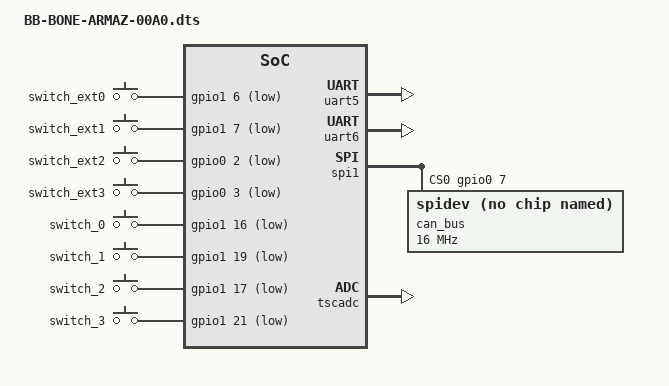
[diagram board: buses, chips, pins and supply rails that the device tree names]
/dts-v1/;
/plugin/;

/ {
    compatible = "ti,beaglebone", "ti,beaglebone-black";

    /* identification */
    part-number = "BB-BONE-ARMAZCAPE";
    version = "00A0";

    /* state the resources this cape uses or prepare to get winged! */
    exclusive-use =
        /* the pin header P8 uses   */
        "P8.3", /* SWITCH_EXT0        */
        "P8.4", /* SWITCH_EXT1        */
        "P8.5", /* SWITCH_EXT2        */
        "P8.6", /* SWITCH_EXT3        */
        "P8.37", /* UART5_TXD           */
        "P8.38", /* UART5_RXD           */
        /* the pin header P9 uses   */
        "P9.11", /* UART4_RXD           */
        "P9.15", /* SWITCH_2           */
        "P9.16", /* SWITCH_3           */
        "P9.23", /* SWITCH_1           */
        "P9.25", /* SWITCH_0           */
        "P9.28", /* SPI1_CS0           */
        "P9.29", /* SPI1_MISO           */
        "P9.30", /* SPI1_MOSI           */
        "P9.31", /* SPI1_SCLK           */
        "P9.37", /* TERM_EXT2           */
        "P9.39", /* TERM_EXT0           */
        "P9.40", /* TERM_EXT1           */
        "P9.42", /* SPI1_CS1           */
        /* the hardware IP uses     */
        "uart4", "uart5";

    fragment@0 {
        target = <&am33xx_pinmux>;
        __overlay__ {
            switch_pins: pinmux_switch_pins {
                pinctrl-single,pins = <
                    // GPIO Settings
                    // 6            5               4           3                   2,1,0
                    // Slew ctl     Receiver active Pullup/down Enable pullup/down  Mux mode
                    // 0 Fast       0 Disable       0 Pulldown  0 Enabled           000 for mode 0
                    // 1 Slow       1 Enable        1 Pullup    1 Disabled          111 for mode 7
                    //
                    // OUTPUT GPIO(mode 7)  0X07 pulldown, 0x17 pullup, 0x?f no pullup/down
                    // INPUT GPIO(mode 7)   0X27 pulldown, 0x37 pullup, 0x?f no pullup/down

                    0x018 0x37 // P8_3 () = SWITCH_EXT0 = GPIO1_6
                    0x01C 0x37 // P8_4 () = SWITCH_EXT1 = GPIO1_7
                    0x008 0x37 // P8_5 () = SWITCH_EXT2 = GPIO0_2
                    0x00C 0x37 // P8_6 () = SWITCH_EXT3 = GPIO0_3
                    0x040 0x37 // P9_15 () = SWITCH_0 = GPIO1_16
                    0x04C 0x37 // P9_16 () = SWITCH_1 = GPIO1_19
                    0x044 0x37 // P9_23 () = SWITCH_2 = GPIO1_17
                    0x1AC 0x37 // P9_25 () = SWITCH_3 = GPIO1_21
                >;
            };
            bb_uart4_pins: pinmux_bb_uart4_pins {
                pinctrl-single,pins = <
                    0x150 0x36 // UART4_RXD.uart4_rxd | MODE6
                >;
            };
            bb_uart5_pins: pinmux_bb_uart5_pins {
                pinctrl-single,pins = <
                    0x0C0 0x14 // UART5_TXD.uart5_txd | MODE4
                    0x0C4 0x34 // UART5_RXD.uart5_rxd | MODE4
                >;
            };
            bb_spi1_pins: pinmux_spi1_pins {
                pinctrl-single,pins = <
                    0x190 0x13 // P9_31 = SPI1_SCLK.spi1_sclk | MODE3 | OUTPUT_PULLUP
                    0x194 0x33 // P9_29 = SPI1_MISO.spi1_d0 | MODE3 | INPUT_PULLUP
                    0x198 0x13 // P9_30 = SPI1_MOSI.spi1_d1 | MODE3 | OUTPUT_PULLUP
                    0x19C 0x13 // P9_28 = SPI1_CS0.spi1_cs0 | MODE3 | OUTPUT_PULLUP
                    0x164 0x12 // P9_42 = GPIO0_7.spi1_cs1 | MODE2 | OUTPUT_PULLUP
                >;
            };
        };
    };

    fragment@1 {
        target = <&uart5>;  /* really uart4 */
        __overlay__ {
            status = "okay";
            pinctrl-names = "default";
            pinctrl-0 = <&bb_uart4_pins>;
        };
    };

    fragment@2 {
        target = <&uart6>;  /* really uart5 */
        __overlay__ {
            status = "okay";
            pinctrl-names = "default";
            pinctrl-0 = <&bb_uart5_pins>;
        };
    };

    fragment@3 {
        target = <&spi1>;
        __overlay__ {
            #address-cells = <1>;
            #size-cells = <0>;
            status = "okay";
            pinctrl-names = "default";
            pinctrl-0 = <&bb_spi1_pins>;
            cs-gpios = <&gpio0 7 0
                        &gpio3 17 0>;

            can_bus {
                #address-cells = <1>;
                #size-cells = <0>;
                compatible = "spidev";
                reg = <0>;
                spi-max-frequency = <16000000>;
            };
        };
    };

    fragment@4 {
        target = <&baseboard_beaglebone_black>;
        __overlay__ {
            #address-cells = <1>;
            #size-cells = <1>;

            gpio_keys {
                compatible = "gpio-keys";
                pinctrl-names = "default";
                pinctrl-0 = <&switch_pins>;
                #address-cells = <1>;
                #size-cells = <0>;

                switch_ext0 {
                    label = "switch_ext0";
                    debounce_interval = <50>;
                    linux,code = <112>;
                    gpios = <&gpio1 6 0x5>;
                    gpio-key,wakeup;
                };
                switch_ext1 {
                    label = "switch_ext1";
                    debounce_interval = <50>;
                    linux,code = <113>;
                    gpios = <&gpio1 7 0x5>;
                    gpio-key,wakeup;
                };
                switch_ext2 {
                    label = "switch_ext2";
                    debounce_interval = <50>;
                    linux,code = <114>;
                    gpios = <&gpio0 2 0x5>;
                    gpio-key,wakeup;
                };
                switch_ext3 {
                    label = "switch_ext3";
                    debounce_interval = <50>;
                    linux,code = <115>;
                    gpios = <&gpio0 3 0x5>;
                    gpio-key,wakeup;
                };

                switch_0 {
                    label = "switch_0";
                    debounce_interval = <50>;
                    linux,code = <90>;
                    gpios = <&gpio1 16 0x5>;
                    gpio-key,wakeup;
                };
                switch_1 {
                    label = "switch_1";
                    debounce_interval = <50>;
                    linux,code = <91>;
                    gpios = <&gpio1 19 0x5>;
                    gpio-key,wakeup;
                };
                switch_2 {
                    label = "switch_2";
                    debounce_interval = <50>;
                    linux,code = <92>;
                    gpios = <&gpio1 17 0x5>;
                    gpio-key,wakeup;
                };
                switch_3 {
                    label = "switch_3";
                    debounce_interval = <50>;
                    linux,code = <94>;
                    gpios = <&gpio1 21 0x5>;
                    gpio-key,wakeup;
                };
            };
        };
    };

    fragment@5 {
        target = <&tscadc>;
        __overlay__ {
            tscadc {
                status = "okay";

                adc {
                    ti,adc-channels = <0 1 2>;
                };
            };
        };
    };
};
